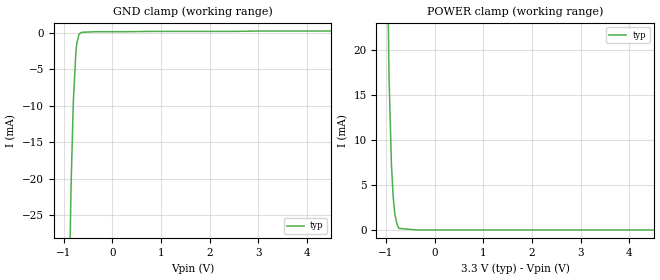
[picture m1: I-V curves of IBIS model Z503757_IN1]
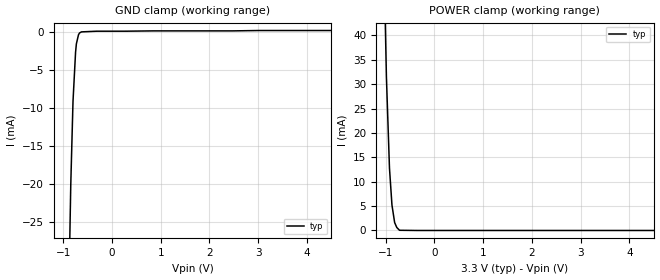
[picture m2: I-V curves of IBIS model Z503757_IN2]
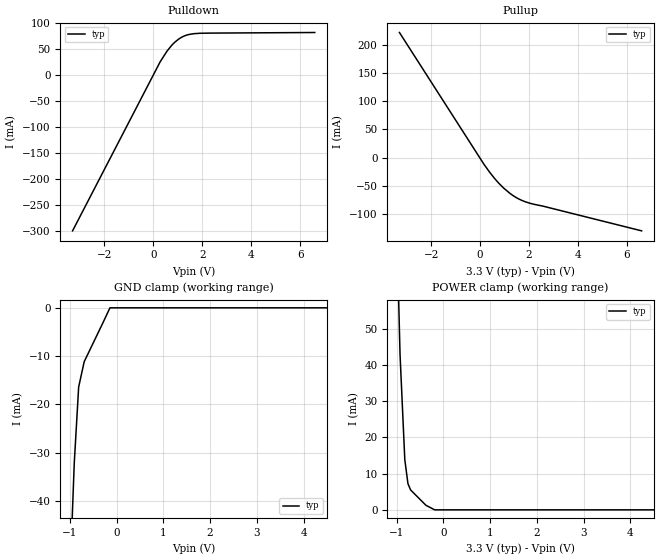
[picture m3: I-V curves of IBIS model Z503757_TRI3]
| YOU ARE ONLY AUTHORIZED TO USE THIS SOFTWARE
| ACCORDING TO LICENSOR'S LICENSE RESTRICTIONS.
[IBIS Ver] 3.1
[File Name] mc74ac240n_33.ibs
[File Rev] 2.0
[Source] Measured and created by ICX Technology
[Date] Friday 7/14/00 9:07:59 AM
[Copyright]
| (C) COPYRIGHT 1993-2000
| MENTOR GRAPHICS CORPORATION
| ICX STANDARD LIBRARY, ICX PROJECT MODELING,
| ICX CUSTOM MODELING, ICX VENDOR MODEL
| ALL RIGHTS RESERVED.
| THE FOLLOWING ARE TRADEMARKS OR SERVICE MARKS OF
| MENTOR GRAPHICS CORPORATION:ICX (R), ICX STANDARD
| LIBRARY(R), ICX PROJECT MODELING(R), ICX CUSTOM
| MODELING(R), qualityIBIS(TM), MODELVIEWER(TM),
| AND MODELEDITOR(TM)
| ALL COPIES OF SOFTWARE, INCLUDING BUT NOT LIMITED TO
| ANY MODIFICATIONS, ENHANCEMENTS OR DERIVATIVE WORKS,
| MUST CONTAIN ALL MENTOR GRAPHICS CORPORATION'S
| NOTICES AND LEGENDS, INCLUDING THOSE EMBEDDED IN
| SOFTWARE AND THOSE AFFIXED TO SOFTWARE MEDIUM
| AND CONTAINER, AS RECEIVED FROM MENTOR GRAPHICS
| CORPORATION.
|  ZAP Model Builder 2.7
[Component] MC74AC240N_33
[Manufacturer] OnSemiconductor
[Package]
| variable   typ   min   max
R_pkg  .216ohms NA NA
L_pkg  5.76nH NA NA
C_pkg  1.29pF NA NA
[Pin] signal_name  model_name  R_pin  L_pin C_pin
1 _G Z503757_IN1 .232 9.76n 1.87p
2 A0 Z503757_IN2 .224 7.26n 1.58p
3 _Y3 Z503757_TRI3 .216 5.26n 1.29p
4 A1 Z503757_IN2 .208 3.76n 1.0p
5 _Y2 Z503757_TRI3 .2 2.76n .71p
6 A2 Z503757_IN2 .2 2.76n .71p
7 _Y1 Z503757_TRI3 .208 3.76n 1.0p
8 A3 Z503757_IN2 .216 5.26n 1.29p
9 _Y0 Z503757_TRI3 .224 7.26n 1.58p
10 GND GND .232 9.76n 1.87p
11 A0 Z503757_IN2 .232 9.76n 1.87p
12 _Y3 Z503757_TRI3 .224 7.26n 1.58p
13 A1 Z503757_IN2 .216 5.26n 1.29p
14 _Y2 Z503757_TRI3 .208 3.76n 1.0p
15 A2 Z503757_IN2 .2 2.76n .71p
16 _Y1 Z503757_TRI3 .2 2.76n .71p
17 A3 Z503757_IN2 .208 3.76n 1.0p
18 _Y0 Z503757_TRI3 .216 5.26n 1.29p
19 _G Z503757_IN1 .224 7.26n 1.58p
20 VCC POWER .232 9.76n 1.87p
| Models and submodels in the file (3): Z503757_IN1 (Input), Z503757_IN2 (Input), Z503757_TRI3 (3-state)
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| (C) COPYRIGHT 1993-2000
| MENTOR GRAPHICS CORPORATION
| ICX STANDARD LIBRARY, ICX PROJECT MODELING,
| ICX CUSTOM MODELING, ICX VENDOR MODEL
| ALL RIGHTS RESERVED.
| THE FOLLOWING ARE TRADEMARKS OR SERVICE MARKS OF
| MENTOR GRAPHICS CORPORATION:ICX (R), ICX STANDARD
| LIBRARY(R), ICX PROJECT MODELING(R), ICX CUSTOM
| MODELING(R), qualityIBIS(TM), MODELVIEWER(TM),
| AND MODELEDITOR(TM)
| ALL COPIES OF SOFTWARE, INCLUDING BUT NOT LIMITED TO
| ANY MODIFICATIONS, ENHANCEMENTS OR DERIVATIVE WORKS,
| MUST CONTAIN ALL MENTOR GRAPHICS CORPORATION'S
| NOTICES AND LEGENDS, INCLUDING THOSE EMBEDDED IN
| SOFTWARE AND THOSE AFFIXED TO SOFTWARE MEDIUM
| AND CONTAINER, AS RECEIVED FROM MENTOR GRAPHICS
| CORPORATION.
| Model Application Version 1.89 2/18/99.
[Model] Z503757_IN1
Model_type Input
Vinl = 990.0mV
Vinh = 2.310V
C_comp 4.000pF NA NA
| variable typ   min   max
[Voltage Range] 3.300V NA NA
[GND Clamp Reference] 0.000V NA NA
[POWER Clamp Reference] 3.300V NA NA
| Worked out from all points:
|   GND clamp passes 1 mA (typ) near -0.71 V on its own axis
|   POWER clamp passes 1 mA (typ) near -0.79 V on its own axis
[GND Clamp]
-3.3V     -1.526A    NA         NA
-1.002V   -78.66mA   NA         NA
-844.7mV  -20.82mA   NA         NA
-799.9mV  -9.521mA   NA         NA
-747.6mV  -2.747mA   NA         NA
-730.6mV  -1.559mA   NA         NA
-687.5mV  -335.6uA   NA         NA
-667.5mV  -101.3uA   NA         NA
-628.3mV  59.19uA    NA         NA
806.5mV   180.6uA    NA         NA
6.6V      232.1uA    NA         NA
[POWER Clamp]
-3.3V     2.09A      NA         NA
-1.147V   139.5mA    NA         NA
-1.036V   58.48mA    NA         NA
-939mV    17.04mA    NA         NA
-890mV    7.39mA     NA         NA
-855mV    3.769mA    NA         NA
-818mV    1.701mA    NA         NA
-775mV    652.9uA    NA         NA
-737mV    177.8uA    NA         NA
-368.5mV  0A         NA         NA
6.6V      0A         NA         NA
| (C) COPYRIGHT 1993-2000
| MENTOR GRAPHICS CORPORATION
| ICX STANDARD LIBRARY, ICX PROJECT MODELING,
| ICX CUSTOM MODELING, ICX VENDOR MODEL
| ALL RIGHTS RESERVED.
| THE FOLLOWING ARE TRADEMARKS OR SERVICE MARKS OF
| MENTOR GRAPHICS CORPORATION:ICX (R), ICX STANDARD
| LIBRARY(R), ICX PROJECT MODELING(R), ICX CUSTOM
| MODELING(R), qualityIBIS(TM), MODELVIEWER(TM),
| AND MODELEDITOR(TM)
| ALL COPIES OF SOFTWARE, INCLUDING BUT NOT LIMITED TO
| ANY MODIFICATIONS, ENHANCEMENTS OR DERIVATIVE WORKS,
| MUST CONTAIN ALL MENTOR GRAPHICS CORPORATION'S
| NOTICES AND LEGENDS, INCLUDING THOSE EMBEDDED IN
| SOFTWARE AND THOSE AFFIXED TO SOFTWARE MEDIUM
| AND CONTAINER, AS RECEIVED FROM MENTOR GRAPHICS
| CORPORATION.
| Model Application Version 1.89 2/18/99.
[Model] Z503757_IN2
Model_type Input
Vinl = 990.0mV
Vinh = 2.310V
C_comp 4.000pF NA NA
| variable typ   min   max
[Voltage Range] 3.300V NA NA
[GND Clamp Reference] 0.000V NA NA
[POWER Clamp Reference] 3.300V NA NA
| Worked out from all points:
|   GND clamp passes 1 mA (typ) near -0.71 V on its own axis
|   POWER clamp passes 1 mA (typ) near -0.79 V on its own axis
[GND Clamp]
-3.3V     -1.806A    NA         NA
-1.005V   -76.59mA   NA         NA
-846.2mV  -20.11mA   NA         NA
-800.5mV  -9.139mA   NA         NA
-747.8mV  -2.637mA   NA         NA
-730.9mV  -1.512mA   NA         NA
-687.5mV  -319.8uA   NA         NA
-667.5mV  -92.86uA   NA         NA
-627.8mV  59.77uA    NA         NA
846.1mV   191.3uA    NA         NA
6.6V      240.7uA    NA         NA
[POWER Clamp]
-3.3V     1.929A     NA         NA
-1.142V   126.2mA    NA         NA
-1.025V   49.88mA    NA         NA
-987mV    31.52mA    NA         NA
-924mV    12.79mA    NA         NA
-873mV    5.209mA    NA         NA
-818mV    1.624mA    NA         NA
-774mV    614uA      NA         NA
-718mV    39.9uA     NA         NA
-359mV    0A         NA         NA
6.6V      0A         NA         NA
| (C) COPYRIGHT 1993-2000
| MENTOR GRAPHICS CORPORATION
| ICX STANDARD LIBRARY, ICX PROJECT MODELING,
| ICX CUSTOM MODELING, ICX VENDOR MODEL
| ALL RIGHTS RESERVED.
| THE FOLLOWING ARE TRADEMARKS OR SERVICE MARKS OF
| MENTOR GRAPHICS CORPORATION:ICX (R), ICX STANDARD
| LIBRARY(R), ICX PROJECT MODELING(R), ICX CUSTOM
| MODELING(R), qualityIBIS(TM), MODELVIEWER(TM),
| AND MODELEDITOR(TM)
| ALL COPIES OF SOFTWARE, INCLUDING BUT NOT LIMITED TO
| ANY MODIFICATIONS, ENHANCEMENTS OR DERIVATIVE WORKS,
| MUST CONTAIN ALL MENTOR GRAPHICS CORPORATION'S
| NOTICES AND LEGENDS, INCLUDING THOSE EMBEDDED IN
| SOFTWARE AND THOSE AFFIXED TO SOFTWARE MEDIUM
| AND CONTAINER, AS RECEIVED FROM MENTOR GRAPHICS
| CORPORATION.
| Model Application Version 1.89 2/18/99.
[Model] Z503757_TRI3
Model_type 3-state
Vref=0.000V
Rref=500.0ohms
Cref=50.00pF
Vmeas=1.650V
C_comp 8.000pF NA NA
| variable typ   min   max
[Voltage Range] 3.300V NA NA
[POWER Clamp Reference] 3.300V NA NA
[Pullup Reference] 3.300V NA NA
[Pulldown Reference] 0.000V NA NA
[GND Clamp Reference] 0.000V NA NA
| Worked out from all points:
|   slope of the pulldown table from 0 to 0.495 V, typ, clamps not added: 12 ohm
|   slope of the pullup table from 0 to 0.495 V, typ, clamps not added: 16.3 ohm
|   GND clamp passes 1 mA (typ) near -0.19 V on its own axis
|   POWER clamp passes 1 mA (typ) near -0.34 V on its own axis
[GND Clamp]
-3.3V     -549.8mA   NA         NA
-1.135V   -91.78mA   NA         NA
-904.6mV  -32.16mA   NA         NA
-810.5mV  -16.4mA    NA         NA
-692mV    -11.15mA   NA         NA
-282.3mV  -2.92mA    NA         NA
-141.1mV  0A         NA         NA
6.6V      0A         NA         NA
[Pulldown]
-3.3V     -298.9mA   NA         NA
278.8mV   25.41mA    NA         NA
558mV     45.88mA    NA         NA
874.6mV   63.02mA    NA         NA
1.261V    75.09mA    NA         NA
1.697V    79.74mA    NA         NA
6.6V      81.83mA    NA         NA
[Pullup]
-3.3V     221.5mA    NA         NA
146mV     -11.37mA   NA         NA
370mV     -25.05mA   NA         NA
766mV     -45.71mA   NA         NA
1.225V    -63.81mA   NA         NA
1.537V    -72.53mA   NA         NA
2.045V    -81.16mA   NA         NA
6.6V      -129.9mA   NA         NA
[POWER Clamp]
-3.3V     1.528A     NA         NA
-1.05V    105mA      NA         NA
-928mV    42.89mA    NA         NA
-826mV    13.85mA    NA         NA
-759mV    7.241mA    NA         NA
-702mV    5.493mA    NA         NA
-374mV    1.259mA    NA         NA
-187mV    0A         NA         NA
6.6V      0A         NA         NA
[Ramp]
| variable typ min max
dV/dt_r 1.937/1.044n NA NA
dV/dt_f 1.937/721.4p NA NA
R_load = 500.0Ohms
